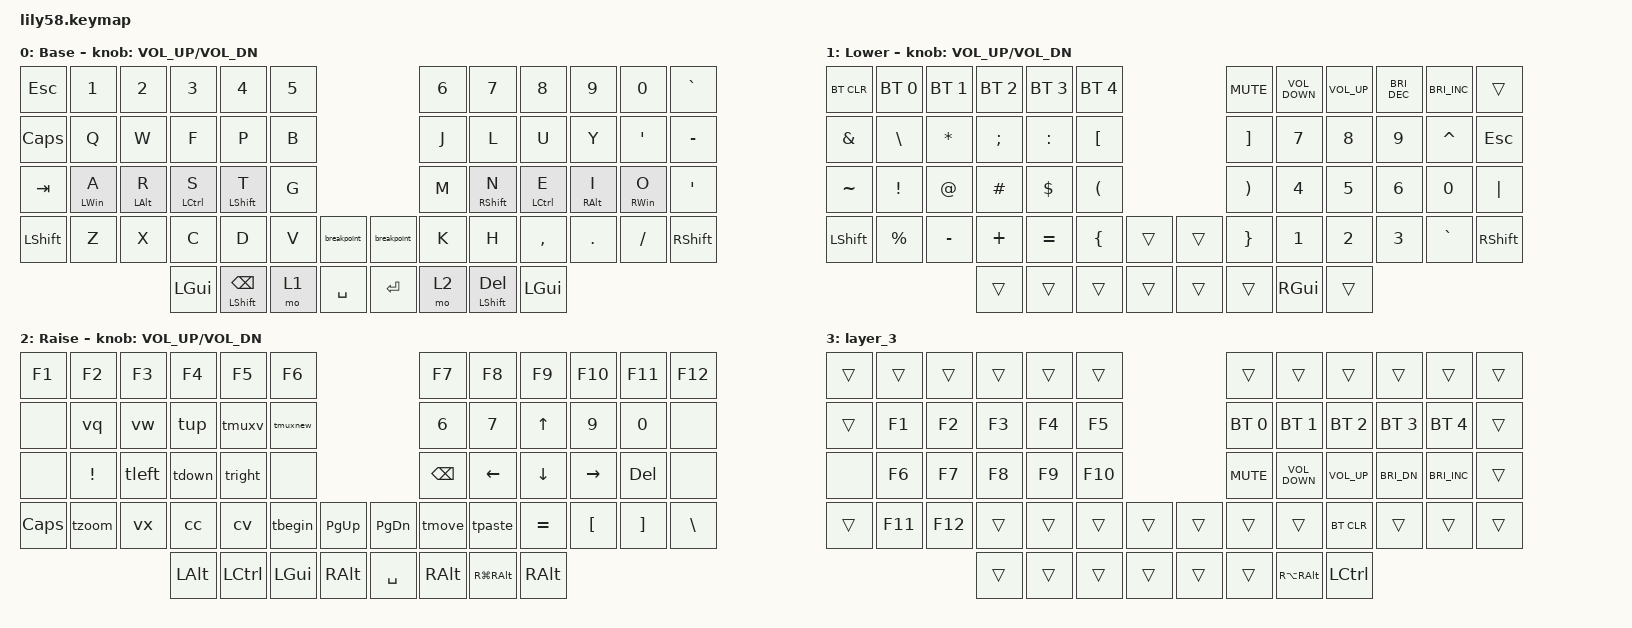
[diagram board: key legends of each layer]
/*
 * Copyright (c) 2020 The ZMK Contributors
 *
 * SPDX-License-Identifier: MIT
 */

#include <behaviors.dtsi>
#include <dt-bindings/zmk/bt.h>
#include <dt-bindings/zmk/keys.h>

&mt {
    tapping-term-ms = <500>;
    flavor = "tap-preferred";
};

&caps_word {
};

/ {
    macros {
        gmail: gmail {
            compatible = "zmk,behavior-macro";
            #binding-cells = <0>;
            bindings = <&kp LC(T)>;
            label = "GMAIL";
        };

        tmuxnew: tmuxnew {
            compatible = "zmk,behavior-macro";
            #binding-cells = <0>;
            bindings = <&kp RC(B) &kp PERCENT>;
            label = "TMUXNEW";
        };

        tmuxv: tmuxv {
            compatible = "zmk,behavior-macro";
            #binding-cells = <0>;
            bindings = <&kp LC(B) &kp DOUBLE_QUOTES>;
            label = "TMUXV";
        };

        tleft: tleft {
            compatible = "zmk,behavior-macro";
            #binding-cells = <0>;
            bindings = <&kp LC(B) &kp LEFT>;
            label = "TLEFT";
        };

        tright: tright {
            compatible = "zmk,behavior-macro";
            #binding-cells = <0>;
            bindings = <&kp LC(B) &kp RIGHT_ARROW>;
            label = "TRIGHT";
        };

        vq: vq {
            compatible = "zmk,behavior-macro";
            #binding-cells = <0>;
            bindings = <&kp ESCAPE &kp COLON &kp Q &kp ENTER>;
            label = "VQ";
        };

        vw: vw {
            compatible = "zmk,behavior-macro";
            #binding-cells = <0>;
            bindings = <&kp ESCAPE &kp COLON &kp W &kp ENTER>;
            label = "VW";
        };

        vx: vx {
            compatible = "zmk,behavior-macro";
            #binding-cells = <0>;
            bindings = <&kp ESCAPE &kp COLON &kp X &kp ENTER>;
            label = "VX";
        };

        tzoom: tzoom {
            compatible = "zmk,behavior-macro";
            #binding-cells = <0>;
            bindings = <&kp LC(B) &kp Z>;
            label = "TZOOM";
        };

        nvm: nvm {
            compatible = "zmk,behavior-macro";
            #binding-cells = <0>;
            bindings = <&kp RC(RS(V)) &kp RCTRL &kp LEFT_SHIFT>;
            label = "NVM";
        };

        cc: cc {
            compatible = "zmk,behavior-macro";
            #binding-cells = <0>;
            bindings = <&kp RC(RS(C))>;
            label = "CC";
        };

        tup: tup {
            compatible = "zmk,behavior-macro";
            #binding-cells = <0>;
            bindings = <&kp RC(B) &kp UP_ARROW>;
            label = "TUP";
        };

        tdown: tdown {
            compatible = "zmk,behavior-macro";
            #binding-cells = <0>;
            bindings = <&kp RC(B) &kp DOWN>;
            label = "TDOWN";
        };

        cv: cv {
            compatible = "zmk,behavior-macro";
            #binding-cells = <0>;
            bindings = <&kp RC(RS(V))>;
            label = "CV";
        };

        tmove: tmove {
            compatible = "zmk,behavior-macro";
            #binding-cells = <0>;
            bindings = <&kp RC(B) &kp LEFT_BRACKET>;
            label = "TMOVE";
        };

        tbegin: tbegin {
            compatible = "zmk,behavior-macro";
            #binding-cells = <0>;
            bindings = <&kp RC(B)>;
            label = "TBEGIN";
        };

        tpaste: tpaste {
            compatible = "zmk,behavior-macro";
            #binding-cells = <0>;
            bindings = <&kp RC(B) &kp RIGHT_BRACKET>;
            label = "TPASTE";
        };

        breakpoint: breakpoint {
            compatible = "zmk,behavior-macro";
            #binding-cells = <0>;
            bindings = <&kp B &kp R &kp E &kp A &kp K &kp P &kp O &kp I &kp N &kp T &kp LPAR &kp RPAR>;
            label = "BREAKPOINT";
        };
    };

    keymap {
        compatible = "zmk,keymap";

        default_layer {
            //  0   1  2  3 4   5            6   7  8 9  10 11
            //  12 13 14 15 16 17            18 19 20 21 22 23
            //  24 25 26 27 28 29            30 31 32 33 34 35
            //  36 37 38 39 40 41            42 43 44 45 46 47
            //          48 49 50 51    52 53   54 55 56 57

            label = "Base";
            bindings = <
&kp ESC    &kp N1          &kp N2          &kp N3        &kp N4                    &kp N5                              &kp N6  &kp N7                 &kp N8       &kp N9           &kp N0            &kp GRAVE
&kp CLCK   &kp Q           &kp W           &kp F         &kp P                     &kp B                               &kp J   &kp L                  &kp U        &kp Y            &kp SINGLE_QUOTE  &kp MINUS
&kp TAB    &mt LEFT_WIN A  &mt LEFT_ALT R  &mt LCTRL S   &mt LEFT_SHIFT T          &kp G                               &kp M   &mt RIGHT_SHIFT N      &mt LCTRL E  &mt RIGHT_ALT I  &mt RIGHT_WIN O   &kp SQT
&kp LSHFT  &kp Z           &kp X           &kp C         &kp D                     &kp V   &breakpoint    &breakpoint  &kp K   &kp H                  &kp COMMA    &kp DOT          &kp FSLH          &kp RSHFT
                                           &kp LEFT_GUI  &mt LEFT_SHIFT BACKSPACE  &mo 1   &kp SPACE      &kp RET      &mo 2   &mt LEFT_SHIFT DELETE  &kp LGUI
            >;

            sensor-bindings = <&inc_dec_kp C_VOL_UP C_VOL_DN>;
        };

        lower_layer {
            // ------------------------------------------------------------------------------------------------------------
            // | BTCLR | BT1 | BT2 |  BT3 |  BT4 |  BT5 |                   |      |       |       |      |       |       |
            // |  F1   |  F2 |  F3 |  F4  |  F5  |  F6  |                   |  F7  |  F8   |  F9   |  F10 |  F11  |  F12  |
            // |   `   |  !  |  @  |  #   |  $   |  %   |                   |  ^   |  &    |  *    |  (   |   )   |   ~   |
            // |       |     |     |      |      |      |        |  |       |      |  _    |  +    |  {   |   }   |  "|"  |
            //                     |      |      |      |        |  |       |      |       |       |

            label = "Lower";
            bindings = <
&bt BT_CLR  &bt BT_SEL 0   &bt BT_SEL 1  &bt BT_SEL 2  &bt BT_SEL 3  &bt BT_SEL 4                            &kp C_MUTE             &kp C_VOLUME_DOWN  &kp C_VOLUME_UP  &kp C_BRIGHTNESS_DEC  &kp C_BRIGHTNESS_INC  &trans
&kp AMPS    &kp BACKSLASH  &kp STAR      &kp SEMI      &kp COLON     &kp LBKT                                &kp RBKT               &kp N7             &kp N8           &kp N9                &kp CARET             &kp ESC
&kp TILDE   &kp EXCL       &kp AT        &kp HASH      &kp DOLLAR    &kp LEFT_PARENTHESIS                    &kp RIGHT_PARENTHESIS  &kp N4             &kp N5           &kp N6                &kp N0                &kp PIPE
&kp LSHFT   &kp PERCENT    &kp MINUS     &kp PLUS      &kp EQUAL     &kp LEFT_BRACE        &trans    &trans  &kp RIGHT_BRACE        &kp N1             &kp N2           &kp N3                &kp GRAVE             &kp RSHFT
                                         &trans        &trans        &trans                &trans    &trans  &trans                 &kp RGUI           &trans
            >;

            sensor-bindings = <&inc_dec_kp C_VOL_UP C_VOL_DN>;
        };

        raise_layer {
            // ------------------------------------------------------------------------------------------------------------
            // |       |     |     |      |      |      |                   |      |       |       |      |       |       |
            // |   `   |  1  |  2  |  3   |  4   |  5   |                   |  6   |   7   |   8   |  9   |   0   |       |
            // |   F1  |  F2 |  F3 |  F4  |  F5  |  F6  |                   |      |   <-  |   v   |  ^   |  ->   |       |
            // |   F7  |  F8 |  F9 |  F10 |  F11 |  F12 |        |  |       |  +   |   -   |   =   |  [   |   ]   |   \   |
            //                     |      |      |      |        |  |       |      |       |       |

            label = "Raise";
            bindings = <
&kp F1    &kp F2           &kp F3  &kp F4    &kp F5     &kp F6                                  &kp F7    &kp F8        &kp F9        &kp F10    &kp F11     &kp F12
&none     &vq              &vw     &tup      &tmuxv     &tmuxnew                                &kp N6    &kp N7        &kp UP_ARROW  &kp N9     &kp N0      &none
&none     &kp EXCLAMATION  &tleft  &tdown    &tright    &none                                   &kp BSPC  &kp LEFT      &kp DOWN      &kp RIGHT  &kp DELETE  &none
&kp CAPS  &tzoom           &vx     &cc       &cv        &tbegin   &kp PAGE_UP    &kp PAGE_DOWN  &tmove    &tpaste       &kp EQUAL     &kp LBKT   &kp RBKT    &kp BSLH
                                   &kp LALT  &kp LCTRL  &kp LGUI  &kp RALT       &kp SPACE      &kp RALT  &kp RG(RALT)  &kp RALT
            >;

            sensor-bindings = <&inc_dec_kp C_VOL_UP C_VOL_DN>;
        };

        layer_3 {
            bindings = <
&trans  &trans   &trans   &trans  &trans  &trans                     &trans        &trans             &trans           &trans        &trans         &trans
&trans  &kp F1   &kp F2   &kp F3  &kp F4  &kp F5                     &bt BT_SEL 0  &bt BT_SEL 1       &bt BT_SEL 2     &bt BT_SEL 3  &bt BT_SEL 4   &trans
&none   &kp F6   &kp F7   &kp F8  &kp F9  &kp F10                    &kp C_MUTE    &kp C_VOLUME_DOWN  &kp C_VOLUME_UP  &kp C_BRI_DN  &kp C_BRI_INC  &trans
&trans  &kp F11  &kp F12  &trans  &trans  &trans   &trans    &trans  &trans        &trans             &bt BT_CLR       &trans        &trans         &trans
                          &trans  &trans  &trans   &trans    &trans  &trans        &kp RA(RIGHT_ALT)  &kp LCTRL
            >;
        };
    };

    conditional_layers {
        compatible = "zmk,conditional-layers";

        numbers {
            if-layers = <1 2>;
            then-layer = <3>;
        };
    };
};
